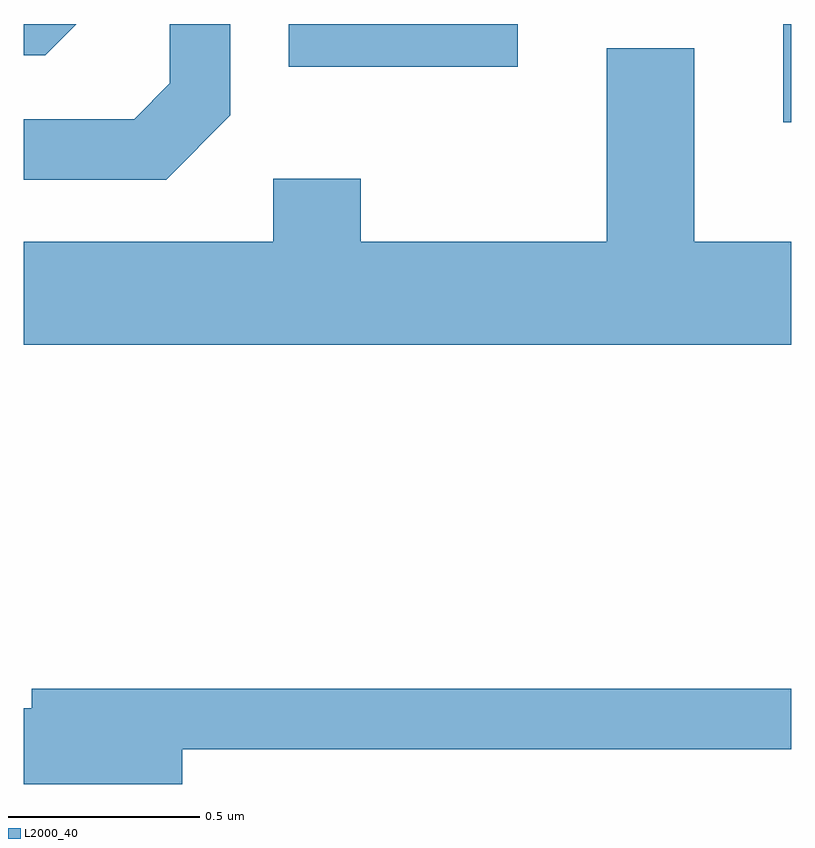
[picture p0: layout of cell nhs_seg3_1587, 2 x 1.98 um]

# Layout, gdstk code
import gdstk
lib = gdstk.Library(unit=1e-6, precision=1e-09)
def R(c, l, rs):  # rectangles x0, y0, x1, y1
    for r in rs: c.add(gdstk.rectangle(r[:2], r[2:], *l))
def P(c, l, *ps):  # polygons
    for p in ps: c.add(gdstk.Polygon(p, *l))
L2000_40 = (2000, 40)

nhs_seg3_1587 = lib.new_cell('nhs_seg3_1587')
R(nhs_seg3_1587, L2000_40, [(198.591,1197.636,198.611,1197.892), (197.301,1197.781,197.899,1197.892)])
P(nhs_seg3_1587, L2000_40, [(196.748,1197.892),(196.611,1197.892),(196.611,1197.811),(196.667,1197.811)],
  [(197.149,1197.654),(197.149,1197.892),(196.991,1197.892),(196.991,1197.737),(196.899,1197.644),(196.611,1197.644),(196.611,1197.486),(196.982,1197.486)],
  [(198.611,1197.324),(198.359,1197.324),(198.359,1197.829),(198.131,1197.829),(198.131,1197.324),(197.489,1197.324),(197.489,1197.489),(197.261,1197.489),(197.261,1197.324),(196.611,1197.324),(196.611,1197.056),(198.611,1197.056)],
  [(197.024,1196.001),(198.611,1196.001),(198.611,1196.159),(196.631,1196.159),(196.631,1196.109),(196.611,1196.109),(196.611,1195.911),(197.024,1195.911)])

lib.write_gds('nhs_seg3_1587.gds')
